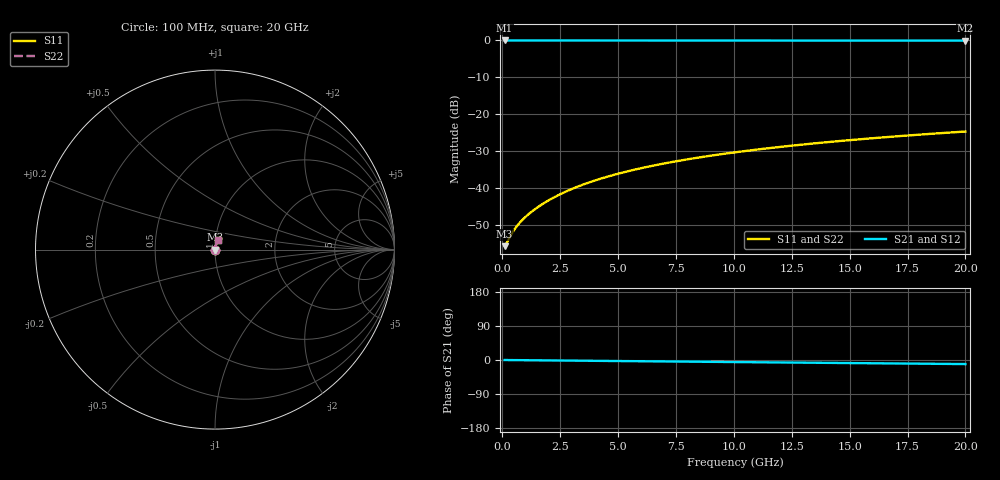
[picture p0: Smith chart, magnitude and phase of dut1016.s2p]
! Touchstone file exported from HFSS 2026.1.0
!  File:  C:/ffzhzh/LocalFiles/Ansys_Project_Files/temp_train_TMRDL_1016_1783159782_51560.aedt
!  Generated:  06:10:55 PM Jul  4, 2026
!  Design:  TMRDL
!  Project:  temp_train_TMRDL_1016_1783159782_51560
! Variables:
!  h_bsmrdl = 2um
!  h_ox = 20um
!  h_rdl = 5um
!  h_sub = 80um
!  h_tmrdl = 2.36um
!  h_tsv = 80um
!  h_via = 3um
!  l_bsmrdl = 300um
!  l_sub = 565.34um
!  l_tmrdl = 165.34um
!  m_sub = 200um
!  pitch = 27.42um
!  r_tsv = 6um
!  s_tmrdl = 10um
!  w_bsmrdl = 18um
!  w_sub = 500um
!  w_tmrdl = 20.24um
!  x_tsv_center1 = 175.46um
!  x_tsv_center2 = 493.46um
!  x_tsv_center3 = 679.04um
!  x_tsv_center4 = 997.04um
!  x_tsv_center5 = 1182.62um
!  x_tsv_center6 = 1500.62um
# GHz S MA R 50.000000
! Terminal data exported
! Port[1] = TM_RDL1_1_T1
! Port[2] = TM_RDL1_1_T2
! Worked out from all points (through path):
!   200 points, 100 MHz to 20 GHz, reference 50 ohm
!   highest |S21| = -0.01 dB at 100 MHz (marker M1); lowest = -0.1 dB at 20 GHz (marker M2)
!   group delay of S21, straight-line fit = 1.49 ps
!   lowest |S11| = -55.7 dB at 100 MHz (marker M3), VSWR 1.00, Z = 50.2 + j0.0428 ohm
!   |S11| at or under -10 dB: start of sweep to end of sweep
!   |S22| runs from -55.7 to -24.7 dB; largest |S21 - S12| = 5.1e-15
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0.1  0.001637 15.1  0.9984 -0.1  0.9984 -0.1  0.001637 15.1
! Gamma 0 0 0 0
! Port Impedance 50 0 50 0
0.2  0.001834 27.2  0.9984 -0.1  0.9984 -0.1  0.001834 27.2
0.4  0.00239 41.7  0.9982 -0.2  0.9982 -0.2  0.00239 41.7
0.6  0.002974 49.1  0.9981 -0.4  0.9981 -0.4  0.002974 49.1
0.7  0.003256 51.8  0.998 -0.4  0.998 -0.4  0.003256 51.8
0.9  0.003806 56.0  0.9979 -0.5  0.9979 -0.5  0.003806 56.0
1.1  0.004347 59.3  0.9978 -0.6  0.9978 -0.6  0.004347 59.3
1.3  0.004888 62.0  0.9978 -0.7  0.9978 -0.7  0.004888 62.0
1.8  0.00627 67.1  0.9976 -1.0  0.9976 -1.0  0.006269 67.1
2.3  0.007691 70.5  0.9976 -1.3  0.9976 -1.3  0.007691 70.5
2.9  0.009434 73.2  0.9975 -1.6  0.9975 -1.6  0.009434 73.2
3.5  0.0112 75.0  0.9974 -1.9  0.9974 -1.9  0.0112 75.0
4.2  0.01328 76.3  0.9973 -2.3  0.9973 -2.3  0.01328 76.3
5  0.01566 77.2  0.9971 -2.7  0.9971 -2.7  0.01566 77.2
5.9  0.01834 77.8  0.997 -3.2  0.997 -3.2  0.01834 77.8
6.8  0.02101 78.1  0.9968 -3.7  0.9968 -3.7  0.02101 78.1
8.3  0.02543 78.1  0.9964 -4.5  0.9964 -4.5  0.02543 78.1
10.1  0.03068 77.8  0.9959 -5.5  0.9959 -5.5  0.03068 77.8
11.7  0.03529 77.3  0.9955 -6.3  0.9955 -6.3  0.03529 77.3
13.4  0.04014 76.7  0.995 -7.2  0.995 -7.2  0.04014 76.7
16.7  0.04938 75.4  0.9939 -9.0  0.9939 -9.0  0.04938 75.4
20  0.05843 73.9  0.9928 -10.7  0.9928 -10.7  0.05843 73.9
